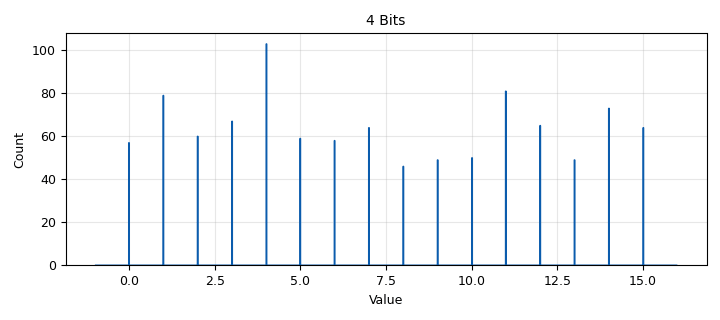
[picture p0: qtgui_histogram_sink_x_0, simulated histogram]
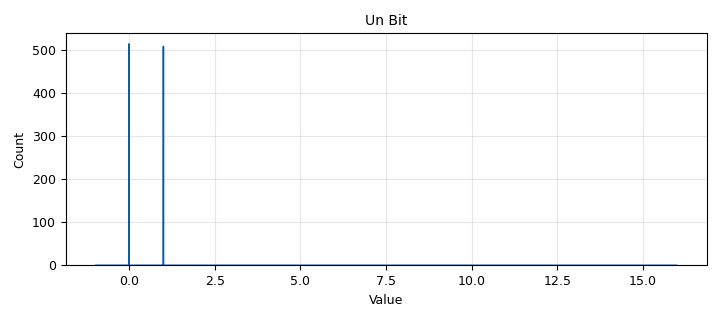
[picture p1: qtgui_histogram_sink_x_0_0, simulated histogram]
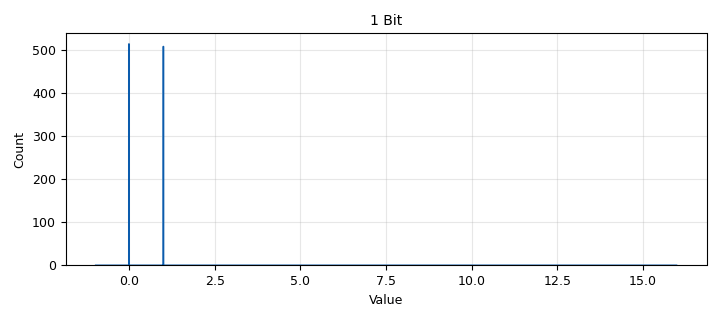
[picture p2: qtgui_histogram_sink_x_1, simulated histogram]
options:
  parameters:
    generate_options: qt_gui
    id: PackingBits
    output_language: python
    title: Not titled yet
  states: {}

blocks:
- name: samp_rate
  id: variable
  parameters:
    value: '32000'
  states: {}
- name: analog_random_source_x_0
  id: analog_random_source_x
  parameters:
    max: '2'
    min: '0'
    num_samps: '1000'
    repeat: 'True'
    type: byte
  states: {}
- name: blocks_char_to_float_0
  id: blocks_char_to_float
  parameters:
    scale: '1'
  states: {}
- name: blocks_char_to_float_0_0
  id: blocks_char_to_float
  parameters:
    scale: '1'
  states: {}
- name: blocks_char_to_float_1
  id: blocks_char_to_float
  parameters:
    scale: '1'
  states: {}
- name: blocks_pack_k_bits_bb_0
  id: blocks_pack_k_bits_bb
  parameters:
    k: '4'
  states: {}
- name: blocks_throttle_0
  id: blocks_throttle
  parameters:
    samples_per_second: samp_rate
    type: byte
  states: {}
- name: blocks_unpack_k_bits_bb_0
  id: blocks_unpack_k_bits_bb
  parameters:
    k: '4'
  states: {}
- name: qtgui_histogram_sink_x_0
  id: qtgui_histogram_sink_x
  parameters:
    bins: '1024'
    name: '"4 Bits"'
    size: '1024'
    type: float
    xmax: '16'
    xmin: '-1'
  states: {}
- name: qtgui_histogram_sink_x_0_0
  id: qtgui_histogram_sink_x
  parameters:
    bins: '1024'
    name: '"Un Bit"'
    size: '1024'
    type: float
    xmax: '16'
    xmin: '-1'
  states: {}
- name: qtgui_histogram_sink_x_1
  id: qtgui_histogram_sink_x
  parameters:
    bins: '1024'
    name: '"1 Bit"'
    size: '1024'
    type: float
    xmax: '16'
    xmin: '-1'
  states: {}

connections:
- [analog_random_source_x_0, '0', blocks_throttle_0, '0']
- [blocks_char_to_float_0, '0', qtgui_histogram_sink_x_0, '0']
- [blocks_char_to_float_0_0, '0', qtgui_histogram_sink_x_0_0, '0']
- [blocks_char_to_float_1, '0', qtgui_histogram_sink_x_1, '0']
- [blocks_pack_k_bits_bb_0, '0', blocks_char_to_float_0, '0']
- [blocks_pack_k_bits_bb_0, '0', blocks_unpack_k_bits_bb_0, '0']
- [blocks_throttle_0, '0', blocks_char_to_float_1, '0']
- [blocks_throttle_0, '0', blocks_pack_k_bits_bb_0, '0']
- [blocks_unpack_k_bits_bb_0, '0', blocks_char_to_float_0_0, '0']

metadata:
  file_format: 1
